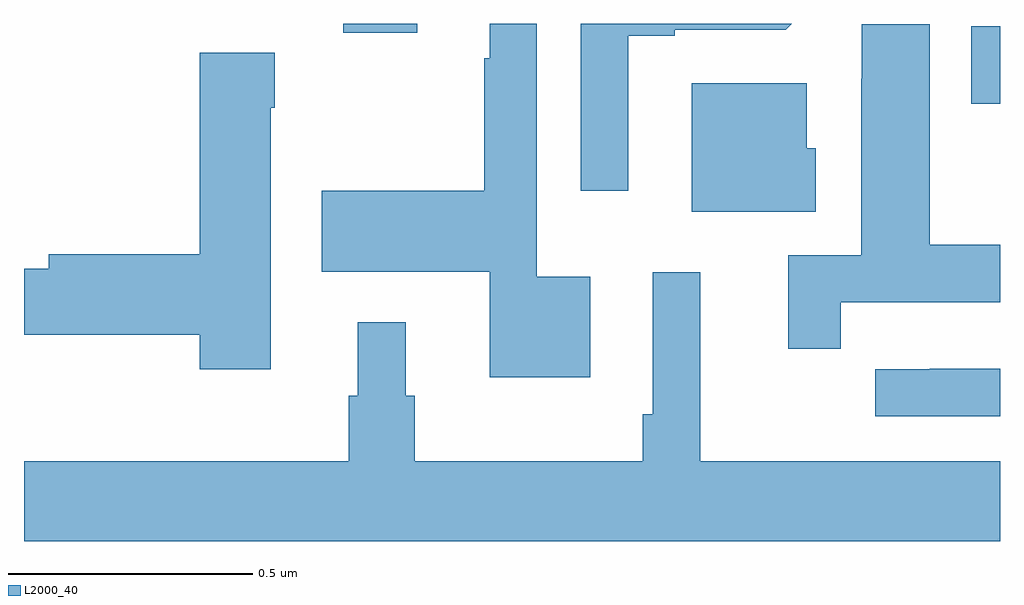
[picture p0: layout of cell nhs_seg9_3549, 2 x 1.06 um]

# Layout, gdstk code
import gdstk
lib = gdstk.Library(unit=1e-6, precision=1e-09)
def R(c, l, rs):  # rectangles x0, y0, x1, y1
    for r in rs: c.add(gdstk.rectangle(r[:2], r[2:], *l))
def P(c, l, *ps):  # polygons
    for p in ps: c.add(gdstk.Polygon(p, *l))
L2000_40 = (2000, 40)

nhs_seg9_3549 = lib.new_cell('nhs_seg9_3549')
R(nhs_seg9_3549, L2000_40, [(156.941,1177.336,157,1177.495), (155.654,1177.482,155.806,1177.5)])
P(nhs_seg9_3549, L2000_40, [(156.16,1176.982),(156.051,1176.982),(156.051,1177.5),(155.954,1177.5),(155.954,1177.43),(155.943,1177.43),(155.943,1177.158),(155.61,1177.158),(155.61,1176.992),(155.954,1176.992),(155.954,1176.776),(156.16,1176.776)],
  [(156.238,1177.476),(156.334,1177.476),(156.334,1177.488),(156.561,1177.488),(156.573,1177.5),(156.141,1177.5),(156.141,1177.158),(156.238,1177.158)],
  [(156.674,1176.93),(157,1176.93),(157,1177.047),(156.856,1177.047),(156.856,1177.499),(156.717,1177.499),(156.717,1177.388),(156.716,1177.388),(156.716,1177.026),(156.566,1177.026),(156.566,1176.834),(156.674,1176.834)],
  [(155.506,1177.328),(155.514,1177.328),(155.514,1177.441),(155.36,1177.441),(155.36,1177.028),(155.051,1177.028),(155.051,1176.998),(155,1176.998),(155,1176.863),(155.36,1176.863),(155.36,1176.792),(155.506,1176.792)],
  [(156.622,1177.245),(156.604,1177.245),(156.604,1177.378),(156.368,1177.378),(156.368,1177.115),(156.622,1177.115)],
  [(157,1176.604),(156.386,1176.604),(156.386,1176.991),(156.288,1176.991),(156.288,1176.7),(156.268,1176.7),(156.268,1176.604),(155.801,1176.604),(155.801,1176.738),(155.782,1176.738),(155.782,1176.889),(155.684,1176.889),(155.684,1176.738),(155.665,1176.738),(155.665,1176.604),(155,1176.604),(155,1176.44),(157,1176.44)],
  [(157,1176.793),(156.856,1176.793),(156.856,1176.792),(156.744,1176.792),(156.744,1176.696),(157,1176.696)])

lib.write_gds('nhs_seg9_3549.gds')
